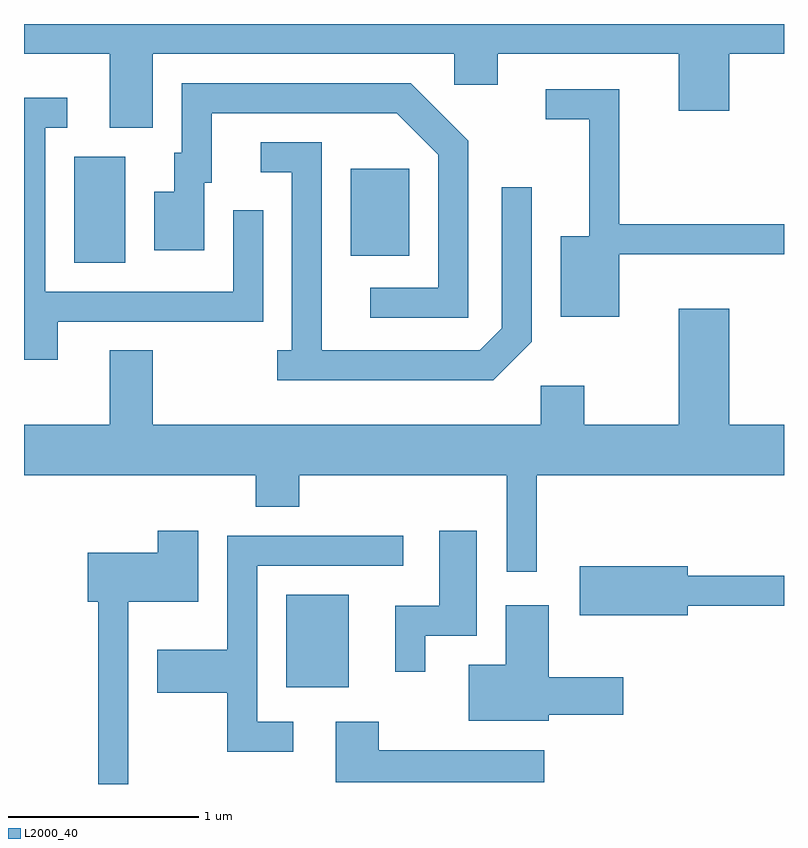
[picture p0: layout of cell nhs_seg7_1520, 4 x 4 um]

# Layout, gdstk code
import gdstk
lib = gdstk.Library(unit=1e-6, precision=1e-09)
def R(c, l, rs):  # rectangles x0, y0, x1, y1
    for r in rs: c.add(gdstk.rectangle(r[:2], r[2:], *l))
def P(c, l, *ps):  # polygons
    for p in ps: c.add(gdstk.Polygon(p, *l))
L2000_40 = (2000, 40)

nhs_seg7_1520 = lib.new_cell('nhs_seg7_1520')
R(nhs_seg7_1520, L2000_40, [(232.991,1708.761,233.319,1709.249), (231.876,1710.996,232.144,1711.554), (233.331,1711.031,233.639,1711.489)])
P(nhs_seg7_1520, L2000_40, [(232.289,1712.096),(233.876,1712.096),(233.876,1711.931),(234.104,1711.931),(234.104,1712.096),(235.056,1712.096),(235.056,1711.796),(235.324,1711.796),(235.324,1712.096),(235.611,1712.096),(235.611,1712.252),(231.611,1712.252),(231.611,1712.096),(232.061,1712.096),(232.061,1711.706),(232.289,1711.706)],
  [(233.949,1711.637),(233.647,1711.939),(232.441,1711.939),(232.441,1711.574),(232.401,1711.574),(232.401,1711.369),(232.296,1711.369),(232.296,1711.061),(232.559,1711.061),(232.559,1711.416),(232.599,1711.416),(232.599,1711.781),(233.574,1711.781),(233.791,1711.564),(233.791,1710.864),(233.433,1710.864),(233.433,1710.706),(233.949,1710.706)],
  [(234.744,1711.041),(235.611,1711.041),(235.611,1711.199),(234.744,1711.199),(234.744,1711.909),(234.358,1711.909),(234.358,1711.751),(234.586,1711.751),(234.586,1711.134),(234.436,1711.134),(234.436,1710.711),(234.744,1710.711)],
  [(231.789,1710.686),(232.869,1710.686),(232.869,1711.273),(232.711,1711.273),(232.711,1710.844),(231.724,1710.844),(231.724,1711.706),(231.838,1711.706),(231.838,1711.864),(231.611,1711.864),(231.611,1710.486),(231.789,1710.486)],
  [(234.284,1710.579),(234.284,1711.393),(234.126,1711.393),(234.126,1710.652),(234.009,1710.534),(233.179,1710.534),(233.179,1711.629),(232.858,1711.629),(232.858,1711.471),(233.021,1711.471),(233.021,1710.534),(232.943,1710.534),(232.943,1710.376),(234.082,1710.376)],
  [(235.611,1710.144),(235.324,1710.144),(235.324,1710.754),(235.056,1710.754),(235.056,1710.144),(234.559,1710.144),(234.559,1710.349),(234.331,1710.349),(234.331,1710.144),(232.289,1710.144),(232.289,1710.534),(232.061,1710.534),(232.061,1710.144),(231.611,1710.144),(231.611,1709.876),(232.831,1709.876),(232.831,1709.711),(233.059,1709.711),(233.059,1709.876),(234.151,1709.876),(234.151,1709.368),(234.309,1709.368),(234.309,1709.876),(235.611,1709.876)],
  [(233.724,1709.031),(233.994,1709.031),(233.994,1709.584),(233.796,1709.584),(233.796,1709.189),(233.566,1709.189),(233.566,1708.843),(233.724,1708.843)],
  [(232.159,1709.211),(232.529,1709.211),(232.529,1709.584),(232.316,1709.584),(232.316,1709.469),(231.946,1709.469),(231.946,1709.211),(232.001,1709.211),(232.001,1708.252),(232.159,1708.252)],
  [(233.028,1708.579),(232.839,1708.579),(232.839,1709.401),(233.608,1709.401),(233.608,1709.559),(232.681,1709.559),(232.681,1708.959),(232.311,1708.959),(232.311,1708.731),(232.681,1708.731),(232.681,1708.421),(233.028,1708.421)],
  [(235.104,1709.191),(235.611,1709.191),(235.611,1709.349),(235.104,1709.349),(235.104,1709.399),(234.536,1709.399),(234.536,1709.141),(235.104,1709.141)],
  [(234.374,1708.616),(234.764,1708.616),(234.764,1708.814),(234.374,1708.814),(234.374,1709.194),(234.146,1709.194),(234.146,1708.879),(233.951,1708.879),(233.951,1708.586),(234.374,1708.586)],
  [(234.348,1708.429),(233.479,1708.429),(233.479,1708.579),(233.251,1708.579),(233.251,1708.261),(234.348,1708.261)])

lib.write_gds('nhs_seg7_1520.gds')
